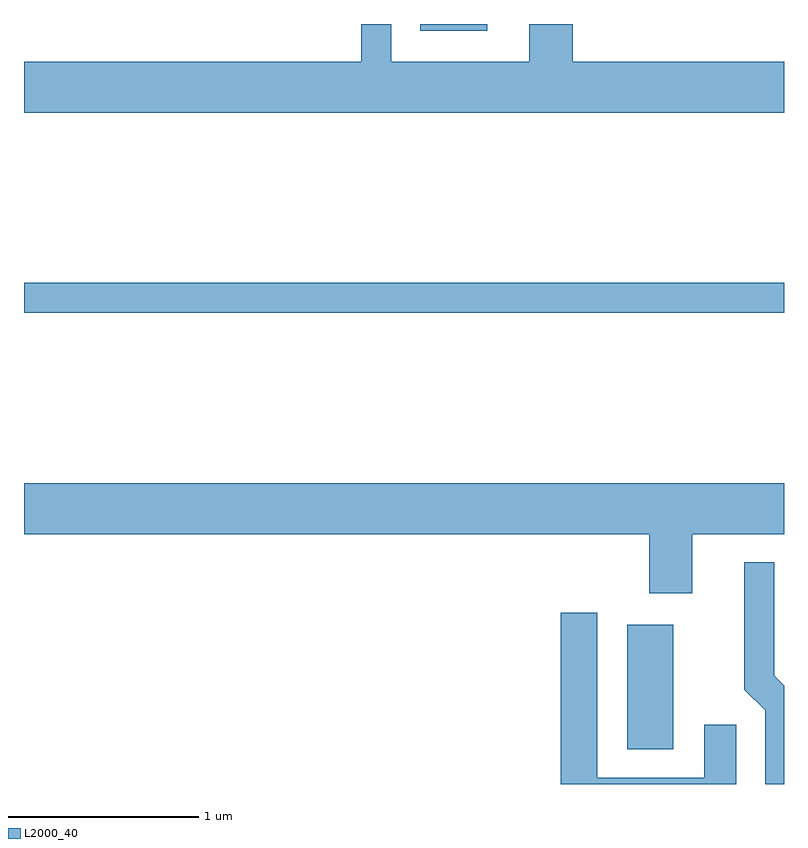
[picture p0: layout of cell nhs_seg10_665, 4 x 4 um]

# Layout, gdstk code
import gdstk
lib = gdstk.Library(unit=1e-6, precision=1e-09)
def R(c, l, rs):  # rectangles x0, y0, x1, y1
    for r in rs: c.add(gdstk.rectangle(r[:2], r[2:], *l))
def P(c, l, *ps):  # polygons
    for p in ps: c.add(gdstk.Polygon(p, *l))
L2000_40 = (2000, 40)

nhs_seg10_665 = lib.new_cell('nhs_seg10_665')
R(nhs_seg10_665, L2000_40, [(206.786,2192.706,207.029,2193.359), (203.611,2195.001,207.611,2195.159), (205.696,2196.486,206.048,2196.522)])
P(nhs_seg10_665, L2000_40, [(207.611,2196.324),(206.499,2196.324),(206.499,2196.522),(206.271,2196.522),(206.271,2196.324),(205.544,2196.324),(205.544,2196.522),(205.386,2196.522),(205.386,2196.324),(203.611,2196.324),(203.611,2196.056),(207.611,2196.056)],
  [(207.129,2193.836),(207.611,2193.836),(207.611,2194.104),(203.611,2194.104),(203.611,2193.836),(206.901,2193.836),(206.901,2193.526),(207.129,2193.526)],
  [(207.611,2193.04),(207.559,2193.092),(207.559,2193.688),(207.401,2193.688),(207.401,2193.019),(207.511,2192.909),(207.511,2192.522),(207.611,2192.522)],
  [(207.359,2192.833),(207.191,2192.833),(207.191,2192.554),(206.629,2192.554),(206.629,2193.424),(206.436,2193.424),(206.436,2192.522),(207.359,2192.522)])

lib.write_gds('nhs_seg10_665.gds')
